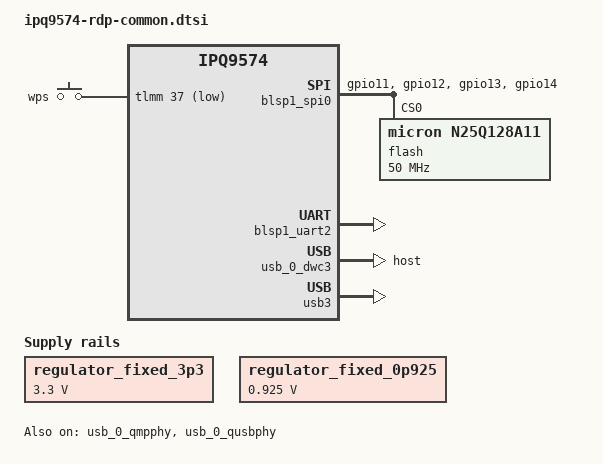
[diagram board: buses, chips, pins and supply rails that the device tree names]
// SPDX-License-Identifier: (GPL-2.0+ OR BSD-3-Clause)
/*
 * IPQ9574 RDP board common device tree source
 *
 * Copyright (c) 2020-2021 The Linux Foundation. All rights reserved.
 * Copyright (c) 2023, Qualcomm Innovation Center, Inc. All rights reserved.
 */

/dts-v1/;

#include <dt-bindings/gpio/gpio.h>
#include <dt-bindings/input/input.h>
#include "ipq9574.dtsi"

/ {
	aliases {
		serial0 = &blsp1_uart2;
	};

	chosen {
		stdout-path = "serial0:115200n8";
	};

	regulator_fixed_3p3: s3300 {
		compatible = "regulator-fixed";
		regulator-min-microvolt = <3300000>;
		regulator-max-microvolt = <3300000>;
		regulator-boot-on;
		regulator-always-on;
		regulator-name = "fixed_3p3";
	};

	regulator_fixed_0p925: s0925 {
		compatible = "regulator-fixed";
		regulator-min-microvolt = <925000>;
		regulator-max-microvolt = <925000>;
		regulator-boot-on;
		regulator-always-on;
		regulator-name = "fixed_0p925";
	};

	gpio-keys {
		compatible = "gpio-keys";
		pinctrl-0 = <&gpio_keys_default>;
		pinctrl-names = "default";

		button-wps {
			label = "wps";
			linux,code = <KEY_WPS_BUTTON>;
			gpios = <&tlmm 37 GPIO_ACTIVE_LOW>;
			debounce-interval = <60>;
		};
	};
};

&blsp1_spi0 {
	pinctrl-0 = <&spi_0_pins>;
	pinctrl-names = "default";
	status = "okay";

	flash@0 {
		compatible = "micron,n25q128a11", "jedec,spi-nor";
		reg = <0>;
		#address-cells = <1>;
		#size-cells = <1>;
		spi-max-frequency = <50000000>;
	};
};

&blsp1_uart2 {
	pinctrl-0 = <&uart2_pins>;
	pinctrl-names = "default";
	status = "okay";
};

&rpm_requests {
	regulators {
		compatible = "qcom,rpm-mp5496-regulators";

		ipq9574_s1: s1 {
		/*
		 * During kernel bootup, the SoC runs at 800MHz with 875mV set by the bootloaders.
		 * During regulator registration, kernel not knowing the initial voltage,
		 * considers it as zero and brings up the regulators with minimum supported voltage.
		 * Update the regulator-min-microvolt with SVS voltage of 725mV so that
		 * the regulators are brought up with 725mV which is sufficient for all the
		 * corner parts to operate at 800MHz
		 */
			regulator-min-microvolt = <725000>;
			regulator-max-microvolt = <1075000>;
		};

		mp5496_l2: l2 {
			regulator-min-microvolt = <1800000>;
			regulator-max-microvolt = <1800000>;
			regulator-always-on;
			regulator-boot-on;
		};
	};
};

&sleep_clk {
	clock-frequency = <32000>;
};

&tlmm {
	spi_0_pins: spi-0-state {
		pins = "gpio11", "gpio12", "gpio13", "gpio14";
		function = "blsp0_spi";
		drive-strength = <8>;
		bias-disable;
	};

	gpio_keys_default: gpio-keys-default-state {
		pins = "gpio37";
		function = "gpio";
		drive-strength = <8>;
		bias-pull-up;
	};
};

&usb_0_dwc3 {
	dr_mode = "host";
};

&usb_0_qmpphy {
	vdda-pll-supply = <&mp5496_l2>;
	vdda-phy-supply = <&regulator_fixed_0p925>;

	status = "okay";
};

&usb_0_qusbphy {
	vdd-supply = <&regulator_fixed_0p925>;
	vdda-pll-supply = <&mp5496_l2>;
	vdda-phy-dpdm-supply = <&regulator_fixed_3p3>;

	status = "okay";
};

&usb3 {
	status = "okay";
};

&xo_board_clk {
	clock-frequency = <24000000>;
};
